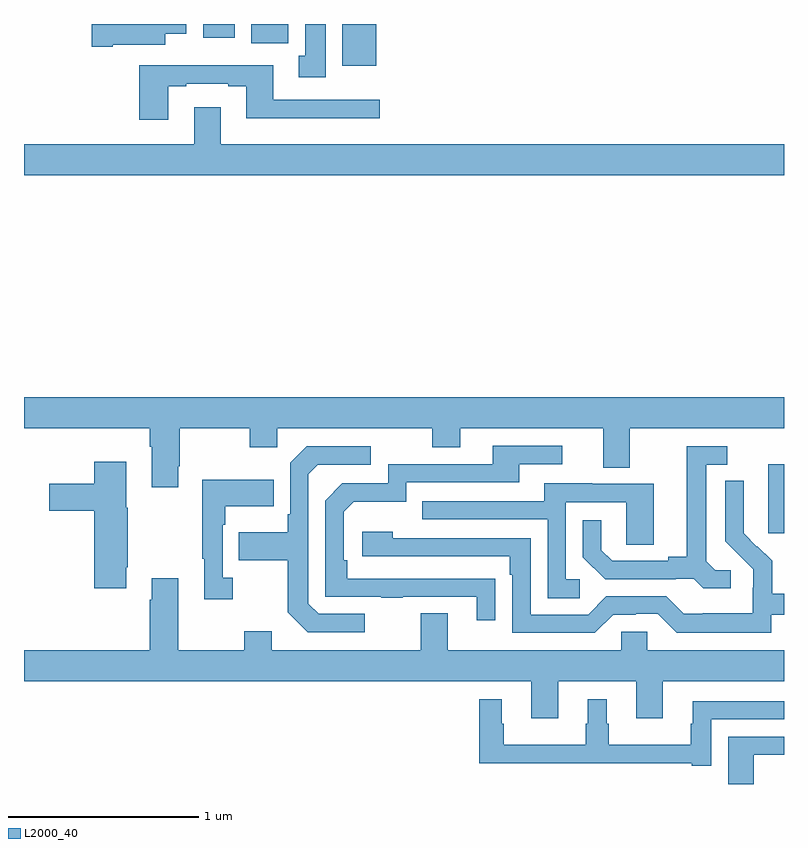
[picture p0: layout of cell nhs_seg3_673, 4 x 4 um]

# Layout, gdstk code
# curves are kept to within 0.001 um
import gdstk
lib = gdstk.Library(unit=1e-6, precision=1e-09)
def R(c, l, rs):  # rectangles x0, y0, x1, y1
    for r in rs: c.add(gdstk.rectangle(r[:2], r[2:], *l))
def P(c, l, *ps):  # polygons
    for p in ps: c.add(gdstk.Polygon(p, *l))
L2000_40 = (2000, 40)

nhs_seg3_673 = lib.new_cell('nhs_seg3_673')
R(nhs_seg3_673, L2000_40, [(148.916,677.721,149,678.082), (146.675,680.18,146.854,680.4), (146.195,680.3,146.392,680.4), (145.943,680.328,146.11,680.4)])
P(nhs_seg3_673, L2000_40, [(146.587,680.4),(146.48,680.4),(146.48,680.234),(146.447,680.234),(146.447,680.121),(146.587,680.121)],
  [(145.468,680.291),(145.744,680.291),(145.744,680.348),(145.855,680.348),(145.855,680.4),(145.356,680.4),(145.356,680.279),(145.468,680.279)],
  [(145.759,680.073),(145.855,680.073),(145.855,680.085),(146.075,680.085),(146.075,680.073),(146.171,680.073),(146.171,679.904),(146.872,679.904),(146.872,680.001),(146.311,680.001),(146.311,680.182),(145.607,680.182),(145.607,679.896),(145.759,679.896)],
  [(149,679.768),(146.035,679.768),(146.035,679.963),(145.895,679.963),(145.895,679.768),(145,679.768),(145,679.604),(149,679.604)],
  [(145.813,678.073),(145.821,678.073),(145.821,678.272),(146.188,678.272),(146.188,678.173),(146.334,678.173),(146.334,678.272),(147.148,678.272),(147.148,678.173),(147.295,678.173),(147.295,678.272),(148.049,678.272),(148.049,678.064),(148.189,678.064),(148.189,678.272),(149,678.272),(149,678.436),(145,678.436),(145,678.272),(145.661,678.272),(145.661,678.176),(145.673,678.176),(145.673,677.961),(145.813,677.961)],
  [(147.479,677.48),(146.702,677.481),(146.702,677.578),(146.682,677.578),(146.682,677.832),(146.735,677.885),(147.012,677.885),(147.012,677.988),(147.607,677.988),(147.607,678.084),(147.832,678.084),(147.832,678.18),(147.467,678.18),(147.467,678.084),(146.916,678.084),(146.916,677.982),(146.676,677.982),(146.586,677.892),(146.586,677.385),(146.881,677.385),(146.881,677.38),(146.993,677.38),(146.993,677.385),(147.383,677.385),(147.383,677.262),(147.479,677.262)],
  [(148.72,677.526),(148.638,677.526),(148.591,677.573),(148.591,678.081),(148.702,678.081),(148.702,678.177),(148.487,678.177),(148.487,677.597),(148.391,677.597),(148.391,677.574),(148.096,677.574),(148.039,677.631),(148.039,677.788),(147.942,677.788),(147.942,677.594),(148.058,677.478),(148.43,677.478),(148.43,677.481),(148.524,677.481),(148.576,677.429),(148.72,677.429)],
  [(146.794,677.295),(146.55,677.295),(146.496,677.349),(146.496,678.03),(146.547,678.081),(146.824,678.081),(146.824,678.177),(146.487,678.177),(146.4,678.09),(146.4,677.821),(146.388,677.821),(146.388,677.725),(146.131,677.725),(146.131,677.578),(146.388,677.578),(146.388,677.305),(146.493,677.199),(146.794,677.199)],
  [(145.537,677.542),(145.545,677.542),(145.545,677.853),(145.537,677.853),(145.537,678.097),(145.37,678.097),(145.37,677.979),(145.134,677.979),(145.134,677.837),(145.37,677.837),(145.37,677.43),(145.537,677.43)],
  [(146.098,677.486),(146.046,677.486),(146.046,677.765),(146.059,677.765),(146.059,677.861),(146.315,677.861),(146.315,678.001),(145.938,678.001),(145.938,677.585),(145.949,677.585),(145.949,677.373),(146.098,677.373)],
  [(148.932,677.292),(149,677.292),(149,677.401),(148.937,677.401),(148.937,677.575),(148.86,677.652),(148.857,677.649),(148.787,677.72),(148.788,677.996),(148.692,677.996),(148.692,677.678),(148.838,677.53),(148.838,677.433),(148.836,677.433),(148.836,677.299),(148.573,677.299),(148.573,677.295),(148.473,677.295),(148.38,677.388),(148.065,677.388),(147.969,677.292),(147.666,677.292),(147.666,677.694),(146.942,677.694),(146.942,677.728),(146.781,677.728),(146.781,677.598),(147.557,677.598),(147.557,677.501),(147.57,677.501),(147.57,677.196),(148.005,677.196),(148.101,677.292),(148.22,677.292),(148.22,677.295),(148.335,677.295),(148.435,677.195),(148.932,677.195)],
  [(147.925,677.478),(147.852,677.478),(147.852,677.883),(148.17,677.883),(148.17,677.659),(148.315,677.659),(148.315,677.979),(147.991,677.979),(147.991,677.983),(147.737,677.983),(147.737,677.889),(147.097,677.889),(147.097,677.793),(147.756,677.793),(147.756,677.377),(147.925,677.377)],
  [(147.811,676.94),(148.223,676.94),(148.223,676.746),(148.363,676.746),(148.363,676.94),(149,676.94),(149,677.104),(148.281,677.104),(148.281,677.202),(148.143,677.202),(148.143,677.104),(147.229,677.104),(147.229,677.299),(147.089,677.299),(147.089,677.104),(146.305,677.104),(146.305,677.203),(146.158,677.203),(146.158,677.104),(145.813,677.104),(145.813,677.482),(145.673,677.482),(145.673,677.369),(145.661,677.369),(145.661,677.104),(145,677.104),(145,676.94),(147.671,676.94),(147.671,676.746),(147.811,676.746)],
  [(148.617,676.74),(149,676.74),(149,676.836),(148.52,676.836),(148.52,676.718),(148.509,676.718),(148.509,676.606),(148.078,676.606),(148.078,676.718),(148.066,676.718),(148.066,676.846),(147.968,676.846),(147.968,676.718),(147.957,676.718),(147.957,676.606),(147.526,676.606),(147.526,676.718),(147.514,676.718),(147.514,676.846),(147.397,676.846),(147.397,676.508),(148.514,676.508),(148.514,676.497),(148.617,676.497)],
  [(148.84,676.553),(149,676.553),(149,676.65),(148.706,676.65),(148.706,676.4),(148.84,676.4)])

lib.write_gds('nhs_seg3_673.gds')
